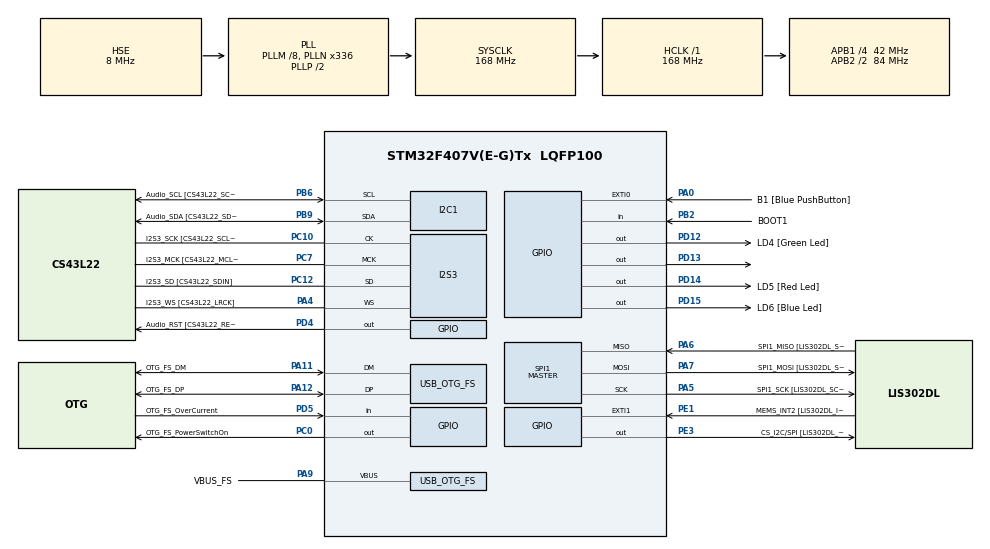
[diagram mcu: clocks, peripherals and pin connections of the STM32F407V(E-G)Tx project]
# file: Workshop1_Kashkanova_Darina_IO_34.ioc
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I2S3.AudioFreq-Half_Duplex_Master=I2S_AUDIOFREQ_96K
I2S3.ErrorAudioFreq=-2.34 %
I2S3.ErrorAudioFreq-Half_Duplex_Master=0.8 %
I2S3.FullDuplexMode=I2S_FULLDUPLEXMODE_DISABLE
I2S3.Instance=SPI$Index
I2S3.RealAudioFreq=93.75 KHz
I2S3.RealAudioFreq-Half_Duplex_Master=96.774 KHz
I2S3.VirtualMode=I2S_MODE_MASTER
Mcu.Family=STM32F4
Mcu.Name=STM32F407V(E-G)Tx
Mcu.Package=LQFP100
NVIC.OTG_FS_IRQn=true\:0\:0\:false\:false\:true\:true\:true\:true
NVIC.PriorityGroup=NVIC_PRIORITYGROUP_0
PA0-WKUP.GPIO_Label=B1 [Blue PushButton]
PA0-WKUP.GPIO_ModeDefaultEXTI=GPIO_MODE_EVT_RISING
PA0-WKUP.GPIO_PuPd=GPIO_NOPULL
PA0-WKUP.Signal=GPXTI0
PA10.GPIO_Label=OTG_FS_ID
PA10.GPIO_Mode=GPIO_MODE_AF_PP
PA10.GPIO_PuPd=GPIO_NOPULL
PA10.GPIO_Speed=GPIO_SPEED_FREQ_LOW
PA10.Signal=USB_OTG_FS_ID
PA11.GPIO_Label=OTG_FS_DM
PA11.GPIO_Mode=GPIO_MODE_AF_PP
PA11.GPIO_PuPd=GPIO_NOPULL
PA11.GPIO_Speed=GPIO_SPEED_FREQ_LOW
PA11.Mode=Host_Only
PA11.Signal=USB_OTG_FS_DM
PA12.GPIO_Label=OTG_FS_DP
PA12.GPIO_Mode=GPIO_MODE_AF_PP
PA12.GPIO_PuPd=GPIO_NOPULL
PA12.GPIO_Speed=GPIO_SPEED_FREQ_LOW
PA12.Mode=Host_Only
PA12.Signal=USB_OTG_FS_DP
PA13.GPIO_Label=SWDIO
PA13.Mode=Serial_Wire
PA13.Signal=SYS_JTMS-SWDIO
PA14.GPIO_Label=SWCLK
PA14.Mode=Serial_Wire
PA14.Signal=SYS_JTCK-SWCLK
PA4.GPIO_Label=I2S3_WS [CS43L22_LRCK]
PA4.GPIO_Mode=GPIO_MODE_AF_PP
PA4.GPIO_PuPd=GPIO_NOPULL
PA4.GPIO_Speed=GPIO_SPEED_FREQ_LOW
PA4.Mode=Half_Duplex_Master
PA4.Signal=I2S3_WS
PA5.GPIO_Label=SPI1_SCK [LIS302DL_SCL/SPC]
PA5.GPIO_Mode=GPIO_MODE_AF_PP
PA5.GPIO_PuPd=GPIO_NOPULL
PA5.GPIO_Speed=GPIO_SPEED_FREQ_LOW
PA5.Mode=Full_Duplex_Master
PA5.Signal=SPI1_SCK
PA6.GPIO_Label=SPI1_MISO [LIS302DL_SDO]
PA6.GPIO_Mode=GPIO_MODE_AF_PP
PA6.GPIO_PuPd=GPIO_NOPULL
PA6.GPIO_Speed=GPIO_SPEED_FREQ_LOW
PA6.Mode=Full_Duplex_Master
PA6.Signal=SPI1_MISO
PA7.GPIO_Label=SPI1_MOSI [LIS302DL_SDA/SDI/SDO]
PA7.GPIO_Mode=GPIO_MODE_AF_PP
PA7.GPIO_PuPd=GPIO_NOPULL
PA7.GPIO_Speed=GPIO_SPEED_FREQ_LOW
PA7.Mode=Full_Duplex_Master
PA7.Signal=SPI1_MOSI
PA9.GPIO_Label=VBUS_FS
PA9.GPIO_Mode=GPIO_MODE_INPUT
PA9.GPIO_PuPd=GPIO_NOPULL
PA9.Mode=Activate_VBUS
PA9.Signal=USB_OTG_FS_VBUS
PB10.GPIO_Label=CLK_IN [MP45DT02_CLK]
PB10.GPIO_Mode=GPIO_MODE_AF_PP
PB10.GPIO_PuPd=GPIO_NOPULL
PB10.GPIO_Speed=GPIO_SPEED_FREQ_LOW
PB10.Signal=I2S2_CK
PB2.GPIO_Label=BOOT1
PB2.GPIO_Mode=GPIO_MODE_INPUT
PB2.GPIO_PuPd=GPIO_NOPULL
PB2.Signal=GPIO_Input
PB3.GPIO_Label=SWO
PB3.Signal=SYS_JTDO-SWO
PB6.GPIO_Label=Audio_SCL [CS43L22_SCL]
PB6.GPIO_Mode=GPIO_MODE_AF_OD
PB6.GPIO_Pu=GPIO_PULLUP
PB6.GPIO_PuPd=GPIO_NOPULL
PB6.GPIO_Speed=GPIO_SPEED_FREQ_LOW
PB6.Mode=I2C
PB6.Signal=I2C1_SCL
PB9.GPIO_Label=Audio_SDA [CS43L22_SDA]
PB9.GPIO_Mode=GPIO_MODE_AF_OD
PB9.GPIO_Pu=GPIO_PULLUP
PB9.GPIO_PuPd=GPIO_NOPULL
PB9.GPIO_Speed=GPIO_SPEED_FREQ_LOW
PB9.Mode=I2C
PB9.Signal=I2C1_SDA
PC0.GPIO_Label=OTG_FS_PowerSwitchOn
PC0.GPIO_PuPd=GPIO_NOPULL
PC0.GPIO_Speed=GPIO_SPEED_FREQ_LOW
PC0.PinState=GPIO_PIN_SET
PC0.Signal=GPIO_Output
PC10.GPIO_Label=I2S3_SCK [CS43L22_SCLK]
PC10.GPIO_Mode=GPIO_MODE_AF_PP
PC10.GPIO_PuPd=GPIO_NOPULL
PC10.GPIO_Speed=GPIO_SPEED_FREQ_LOW
PC10.Mode=Half_Duplex_Master
PC10.Signal=I2S3_CK
PC12.GPIO_Label=I2S3_SD [CS43L22_SDIN]
PC12.GPIO_Mode=GPIO_MODE_AF_PP
PC12.GPIO_PuPd=GPIO_NOPULL
PC12.GPIO_Speed=GPIO_SPEED_FREQ_LOW
PC12.Mode=Half_Duplex_Master
PC12.Signal=I2S3_SD
PC14-OSC32_IN.GPIO_Label=PC14-OSC32_IN
PC14-OSC32_IN.Mode=LSE-External-Oscillator
PC14-OSC32_IN.Signal=RCC_OSC32_IN
PC15-OSC32_OUT.GPIO_Label=PC15-OSC32_OUT
PC15-OSC32_OUT.Mode=LSE-External-Oscillator
PC15-OSC32_OUT.Signal=RCC_OSC32_OUT
PC3.GPIO_Label=PDM_OUT [MP45DT02_DOUT]
PC3.GPIO_Mode=GPIO_MODE_AF_PP
PC3.GPIO_PuPd=GPIO_NOPULL
PC3.GPIO_Speed=GPIO_SPEED_FREQ_LOW
PC3.Signal=I2S2_SD
PC7.GPIO_Label=I2S3_MCK [CS43L22_MCLK]
PC7.GPIO_Mode=GPIO_MODE_AF_PP
PC7.GPIO_PuPd=GPIO_NOPULL
PC7.GPIO_Speed=GPIO_SPEED_FREQ_LOW
PC7.Mode=Master_Clock_Activated
PC7.Signal=I2S3_MCK
PD12.GPIO_Label=LD4 [Green Led]
PD12.GPIO_PuPd=GPIO_NOPULL
PD12.GPIO_Speed=GPIO_SPEED_FREQ_LOW
PD12.Signal=GPIO_Output
PD13.Signal=GPIO_Output
PD14.GPIO_Label=LD5 [Red Led]
PD14.GPIO_PuPd=GPIO_NOPULL
PD14.GPIO_Speed=GPIO_SPEED_FREQ_LOW
PD14.Signal=GPIO_Output
PD15.GPIO_Label=LD6 [Blue Led]
PD15.GPIO_PuPd=GPIO_NOPULL
PD15.GPIO_Speed=GPIO_SPEED_FREQ_LOW
PD15.Signal=GPIO_Output
PD4.GPIO_Label=Audio_RST [CS43L22_RESET]
PD4.GPIO_PuPd=GPIO_NOPULL
PD4.GPIO_Speed=GPIO_SPEED_FREQ_LOW
PD4.Signal=GPIO_Output
PD5.GPIO_Label=OTG_FS_OverCurrent
PD5.GPIO_Mode=GPIO_MODE_INPUT
PD5.GPIO_PuPd=GPIO_NOPULL
PD5.Signal=GPIO_Input
PE1.GPIO_Label=MEMS_INT2 [LIS302DL_INT2]
PE1.GPIO_ModeDefaultEXTI=GPIO_MODE_EVT_RISING
PE1.GPIO_PuPd=GPIO_NOPULL
PE1.Signal=GPXTI1
PE3.GPIO_Label=CS_I2C/SPI [LIS302DL_CS_I2C/SPI]
PE3.GPIO_PuPd=GPIO_NOPULL
PE3.GPIO_Speed=GPIO_SPEED_FREQ_LOW
PE3.Signal=GPIO_Output
PH0-OSC_IN.GPIO_Label=PH0-OSC_IN
PH0-OSC_IN.Mode=HSE-External-Oscillator
PH0-OSC_IN.Signal=RCC_OSC_IN
PH1-OSC_OUT.GPIO_Label=PH1-OSC_OUT
PH1-OSC_OUT.Mode=HSE-External-Oscillator
PH1-OSC_OUT.Signal=RCC_OSC_OUT
ProjectManager.HeapSize=0x200
ProjectManager.StackSize=0x400
ProjectManager.TargetToolchain=STM32CubeIDE
RCC.48MHZClocksFreq_Value=48000000
RCC.AHBFreq_Value=168000000
RCC.APB1CLKDivider=RCC_HCLK_DIV4
RCC.APB1Freq_Value=42000000
RCC.APB1TimFreq_Value=84000000
RCC.APB2CLKDivider=RCC_HCLK_DIV2
RCC.APB2Freq_Value=84000000
RCC.APB2TimFreq_Value=168000000
RCC.CortexFreq_Value=168000000
RCC.HCLKFreq_Value=168000000
RCC.HSE_VALUE=8000000
RCC.HSI_VALUE=16000000
RCC.PLLM=8
RCC.PLLN=336
RCC.PLLQ=7
RCC.SYSCLKFreq_VALUE=168000000
RCC.SYSCLKSource=RCC_SYSCLKSOURCE_PLLCLK
RCC.VCOOutputFreq_Value=336000000
SPI1.BaudRatePrescaler-Full_Duplex_Master=SPI_BAUDRATEPRESCALER_2
SPI1.CalculateBaudRate-Full_Duplex_Master=42.0 MBits/s
SPI1.Direction=SPI_DIRECTION_2LINES
SPI1.Mode=SPI_MODE_MASTER
SPI1.Mode-Full_Duplex_Master=SPI_MODE_MASTER
SPI1.VirtualType=VM_MASTER
USB_HOST.BSP.number=1
USB_HOST.USBH_HandleTypeDef-CDC_FS=hUsbHostFS
USB_HOST.VirtualModeFS=Cdc
USB_HOST0.BSP.STBoard=false
USB_HOST0.BSP.api=Unknown
USB_HOST0.BSP.instance=PC0
USB_HOST0.BSP.ip=GPIO
USB_HOST0.BSP.mode=Output
USB_HOST0.BSP.name=Drive_VBUS_FS
USB_HOST0.BSP.solution=PC0
USB_OTG_FS.VirtualMode=Host_Only
USB_OTG_FS.phy_itface=HCD_PHY_EMBEDDED
VP_USB_HOST_VS_USB_HOST_CDC_FS.Mode=CDC_FS
board=STM32F407G-DISC1

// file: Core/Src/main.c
/* USER CODE BEGIN Header */
/**
  ******************************************************************************
  * @file           : main.c
  * @brief          : Main program body
  ******************************************************************************
  * @attention
  *
  * Copyright (c) 2026 STMicroelectronics.
  * All rights reserved.
  *
  * This software is licensed under terms that can be found in the LICENSE file
  * in the root directory of this software component.
  * If no LICENSE file comes with this software, it is provided AS-IS.
  *
  ******************************************************************************
  */
/* USER CODE END Header */
#include "main.h"
#include "usb_host.h"

I2C_HandleTypeDef hi2c1;

I2S_HandleTypeDef hi2s3;

SPI_HandleTypeDef hspi1;

void SystemClock_Config(void);
static void MX_GPIO_Init(void);
static void MX_I2C1_Init(void);
static void MX_I2S3_Init(void);
static void MX_SPI1_Init(void);
void MX_USB_HOST_Process(void);

int main(void)
{

  /* MCU Configuration--------------------------------------------------------*/

  /* Reset of all peripherals, Initializes the Flash interface and the Systick. */
  HAL_Init();

  /* Configure the system clock */
  SystemClock_Config();

  /* Initialize all configured peripherals */
  MX_GPIO_Init();
  MX_I2C1_Init();
  MX_I2S3_Init();
  MX_SPI1_Init();
  MX_USB_HOST_Init();

  /* Infinite loop */
  /* USER CODE BEGIN WHILE */
  while (1)
  {
	  HAL_GPIO_WritePin(GPIOD, GPIO_PIN_12, GPIO_PIN_SET);
	      HAL_Delay(500);
	      HAL_GPIO_WritePin(GPIOD, GPIO_PIN_13, GPIO_PIN_SET);
	      HAL_Delay(500);
	      HAL_GPIO_WritePin(GPIOD, GPIO_PIN_14, GPIO_PIN_SET);
	      HAL_Delay(500);
	      HAL_GPIO_WritePin(GPIOD, GPIO_PIN_15, GPIO_PIN_SET);
	      HAL_Delay(500);

	      HAL_GPIO_WritePin(GPIOD, GPIO_PIN_12, GPIO_PIN_RESET);
	      HAL_Delay(500);
	      HAL_GPIO_WritePin(GPIOD, GPIO_PIN_13, GPIO_PIN_RESET);
	      HAL_Delay(500);
	      HAL_GPIO_WritePin(GPIOD, GPIO_PIN_14, GPIO_PIN_RESET);
	      HAL_Delay(500);
	      HAL_GPIO_WritePin(GPIOD, GPIO_PIN_15, GPIO_PIN_RESET);
	      HAL_Delay(500);
    /* USER CODE END WHILE */
    MX_USB_HOST_Process();

  }
}

void SystemClock_Config(void)
{
  RCC_OscInitTypeDef RCC_OscInitStruct = {0};
  RCC_ClkInitTypeDef RCC_ClkInitStruct = {0};

  /** Configure the main internal regulator output voltage
  */
  __HAL_RCC_PWR_CLK_ENABLE();
  __HAL_PWR_VOLTAGESCALING_CONFIG(PWR_REGULATOR_VOLTAGE_SCALE1);

  /** Initializes the RCC Oscillators according to the specified parameters
  * in the RCC_OscInitTypeDef structure.
  */
  RCC_OscInitStruct.OscillatorType = RCC_OSCILLATORTYPE_HSE;
  RCC_OscInitStruct.HSEState = RCC_HSE_ON;
  RCC_OscInitStruct.PLL.PLLState = RCC_PLL_ON;
  RCC_OscInitStruct.PLL.PLLSource = RCC_PLLSOURCE_HSE;
  RCC_OscInitStruct.PLL.PLLM = 8;
  RCC_OscInitStruct.PLL.PLLN = 336;
  RCC_OscInitStruct.PLL.PLLP = RCC_PLLP_DIV2;
  RCC_OscInitStruct.PLL.PLLQ = 7;
  if (HAL_RCC_OscConfig(&RCC_OscInitStruct) != HAL_OK)
  {
    Error_Handler();
  }

  /** Initializes the CPU, AHB and APB buses clocks
  */
  RCC_ClkInitStruct.ClockType = RCC_CLOCKTYPE_HCLK|RCC_CLOCKTYPE_SYSCLK
                              |RCC_CLOCKTYPE_PCLK1|RCC_CLOCKTYPE_PCLK2;
  RCC_ClkInitStruct.SYSCLKSource = RCC_SYSCLKSOURCE_PLLCLK;
  RCC_ClkInitStruct.AHBCLKDivider = RCC_SYSCLK_DIV1;
  RCC_ClkInitStruct.APB1CLKDivider = RCC_HCLK_DIV4;
  RCC_ClkInitStruct.APB2CLKDivider = RCC_HCLK_DIV2;

  if (HAL_RCC_ClockConfig(&RCC_ClkInitStruct, FLASH_LATENCY_5) != HAL_OK)
  {
    Error_Handler();
  }
}

static void MX_I2C1_Init(void)
{

  hi2c1.Instance = I2C1;
  hi2c1.Init.ClockSpeed = 100000;
  hi2c1.Init.DutyCycle = I2C_DUTYCYCLE_2;
  hi2c1.Init.OwnAddress1 = 0;
  hi2c1.Init.AddressingMode = I2C_ADDRESSINGMODE_7BIT;
  hi2c1.Init.DualAddressMode = I2C_DUALADDRESS_DISABLE;
  hi2c1.Init.OwnAddress2 = 0;
  hi2c1.Init.GeneralCallMode = I2C_GENERALCALL_DISABLE;
  hi2c1.Init.NoStretchMode = I2C_NOSTRETCH_DISABLE;
  if (HAL_I2C_Init(&hi2c1) != HAL_OK)
  {
    Error_Handler();
  }

}

static void MX_I2S3_Init(void)
{

  hi2s3.Instance = SPI3;
  hi2s3.Init.Mode = I2S_MODE_MASTER_TX;
  hi2s3.Init.Standard = I2S_STANDARD_PHILIPS;
  hi2s3.Init.DataFormat = I2S_DATAFORMAT_16B;
  hi2s3.Init.MCLKOutput = I2S_MCLKOUTPUT_ENABLE;
  hi2s3.Init.AudioFreq = I2S_AUDIOFREQ_96K;
  hi2s3.Init.CPOL = I2S_CPOL_LOW;
  hi2s3.Init.ClockSource = I2S_CLOCK_PLL;
  hi2s3.Init.FullDuplexMode = I2S_FULLDUPLEXMODE_DISABLE;
  if (HAL_I2S_Init(&hi2s3) != HAL_OK)
  {
    Error_Handler();
  }

}

static void MX_SPI1_Init(void)
{

  /* SPI1 parameter configuration*/
  hspi1.Instance = SPI1;
  hspi1.Init.Mode = SPI_MODE_MASTER;
  hspi1.Init.Direction = SPI_DIRECTION_2LINES;
  hspi1.Init.DataSize = SPI_DATASIZE_8BIT;
  hspi1.Init.CLKPolarity = SPI_POLARITY_LOW;
  hspi1.Init.CLKPhase = SPI_PHASE_1EDGE;
  hspi1.Init.NSS = SPI_NSS_SOFT;
  hspi1.Init.BaudRatePrescaler = SPI_BAUDRATEPRESCALER_2;
  hspi1.Init.FirstBit = SPI_FIRSTBIT_MSB;
  hspi1.Init.TIMode = SPI_TIMODE_DISABLE;
  hspi1.Init.CRCCalculation = SPI_CRCCALCULATION_DISABLE;
  hspi1.Init.CRCPolynomial = 10;
  if (HAL_SPI_Init(&hspi1) != HAL_OK)
  {
    Error_Handler();
  }

}

static void MX_GPIO_Init(void)
{
  GPIO_InitTypeDef GPIO_InitStruct = {0};

  /* GPIO Ports Clock Enable */
  __HAL_RCC_GPIOE_CLK_ENABLE();
  __HAL_RCC_GPIOC_CLK_ENABLE();
  __HAL_RCC_GPIOH_CLK_ENABLE();
  __HAL_RCC_GPIOA_CLK_ENABLE();
  __HAL_RCC_GPIOB_CLK_ENABLE();
  __HAL_RCC_GPIOD_CLK_ENABLE();

  /*Configure GPIO pin Output Level */
  HAL_GPIO_WritePin(CS_I2C_SPI_GPIO_Port, CS_I2C_SPI_Pin, GPIO_PIN_RESET);

  /*Configure GPIO pin Output Level */
  HAL_GPIO_WritePin(OTG_FS_PowerSwitchOn_GPIO_Port, OTG_FS_PowerSwitchOn_Pin, GPIO_PIN_SET);

  /*Configure GPIO pin Output Level */
  HAL_GPIO_WritePin(GPIOD, LD4_Pin|GPIO_PIN_13|LD5_Pin|LD6_Pin
                          |Audio_RST_Pin, GPIO_PIN_RESET);

  /*Configure GPIO pin : CS_I2C_SPI_Pin */
  GPIO_InitStruct.Pin = CS_I2C_SPI_Pin;
  GPIO_InitStruct.Mode = GPIO_MODE_OUTPUT_PP;
  GPIO_InitStruct.Pull = GPIO_NOPULL;
  GPIO_InitStruct.Speed = GPIO_SPEED_FREQ_LOW;
  HAL_GPIO_Init(CS_I2C_SPI_GPIO_Port, &GPIO_InitStruct);

  /*Configure GPIO pin : OTG_FS_PowerSwitchOn_Pin */
  GPIO_InitStruct.Pin = OTG_FS_PowerSwitchOn_Pin;
  GPIO_InitStruct.Mode = GPIO_MODE_OUTPUT_PP;
  GPIO_InitStruct.Pull = GPIO_NOPULL;
  GPIO_InitStruct.Speed = GPIO_SPEED_FREQ_LOW;
  HAL_GPIO_Init(OTG_FS_PowerSwitchOn_GPIO_Port, &GPIO_InitStruct);

  /*Configure GPIO pin : PDM_OUT_Pin */
  GPIO_InitStruct.Pin = PDM_OUT_Pin;
  GPIO_InitStruct.Mode = GPIO_MODE_AF_PP;
  GPIO_InitStruct.Pull = GPIO_NOPULL;
  GPIO_InitStruct.Speed = GPIO_SPEED_FREQ_LOW;
  GPIO_InitStruct.Alternate = GPIO_AF5_SPI2;
  HAL_GPIO_Init(PDM_OUT_GPIO_Port, &GPIO_InitStruct);

  /*Configure GPIO pin : B1_Pin */
  GPIO_InitStruct.Pin = B1_Pin;
  GPIO_InitStruct.Mode = GPIO_MODE_EVT_RISING;
  GPIO_InitStruct.Pull = GPIO_NOPULL;
  HAL_GPIO_Init(B1_GPIO_Port, &GPIO_InitStruct);

  /*Configure GPIO pin : BOOT1_Pin */
  GPIO_InitStruct.Pin = BOOT1_Pin;
  GPIO_InitStruct.Mode = GPIO_MODE_INPUT;
  GPIO_InitStruct.Pull = GPIO_NOPULL;
  HAL_GPIO_Init(BOOT1_GPIO_Port, &GPIO_InitStruct);

  /*Configure GPIO pin : CLK_IN_Pin */
  GPIO_InitStruct.Pin = CLK_IN_Pin;
  GPIO_InitStruct.Mode = GPIO_MODE_AF_PP;
  GPIO_InitStruct.Pull = GPIO_NOPULL;
  GPIO_InitStruct.Speed = GPIO_SPEED_FREQ_LOW;
  GPIO_InitStruct.Alternate = GPIO_AF5_SPI2;
  HAL_GPIO_Init(CLK_IN_GPIO_Port, &GPIO_InitStruct);

  /*Configure GPIO pins : LD4_Pin PD13 LD5_Pin LD6_Pin
                           Audio_RST_Pin */
  GPIO_InitStruct.Pin = LD4_Pin|GPIO_PIN_13|LD5_Pin|LD6_Pin
                          |Audio_RST_Pin;
  GPIO_InitStruct.Mode = GPIO_MODE_OUTPUT_PP;
  GPIO_InitStruct.Pull = GPIO_NOPULL;
  GPIO_InitStruct.Speed = GPIO_SPEED_FREQ_LOW;
  HAL_GPIO_Init(GPIOD, &GPIO_InitStruct);

  /*Configure GPIO pin : OTG_FS_OverCurrent_Pin */
  GPIO_InitStruct.Pin = OTG_FS_OverCurrent_Pin;
  GPIO_InitStruct.Mode = GPIO_MODE_INPUT;
  GPIO_InitStruct.Pull = GPIO_NOPULL;
  HAL_GPIO_Init(OTG_FS_OverCurrent_GPIO_Port, &GPIO_InitStruct);

  /*Configure GPIO pin : MEMS_INT2_Pin */
  GPIO_InitStruct.Pin = MEMS_INT2_Pin;
  GPIO_InitStruct.Mode = GPIO_MODE_EVT_RISING;
  GPIO_InitStruct.Pull = GPIO_NOPULL;
  HAL_GPIO_Init(MEMS_INT2_GPIO_Port, &GPIO_InitStruct);

}

void Error_Handler(void)
{
  __disable_irq();
  while (1)
  {
  }
}
